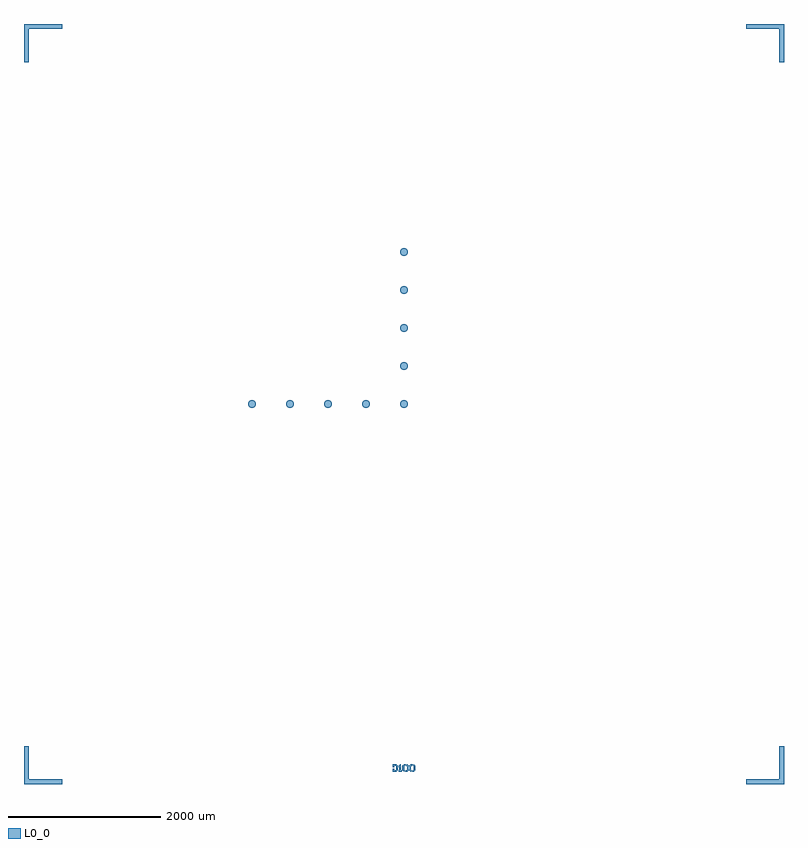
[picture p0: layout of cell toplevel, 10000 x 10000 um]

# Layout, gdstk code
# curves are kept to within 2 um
import gdstk
lib = gdstk.Library(unit=1e-6, precision=1e-09)
def P(c, l, *ps):  # polygons
    for p in ps: c.add(gdstk.Polygon(p, *l))
L0_0 = (0, 0)

circle = lib.new_cell('circle')
P(circle, L0_0, [(50,0),(46.194,19.134),(35.355,35.355),(19.134,46.194),(0,50),(-19.134,46.194),(-35.355,35.355),(-46.194,19.134),(-50,0),(-46.194,-19.134),(-35.355,-35.355),(-19.134,-46.194),(0,-50),(19.134,-46.194),(35.355,-35.355),(46.194,-19.134)])

circle001 = lib.new_cell('circle001')
P(circle001, L0_0, [(-450,0),(-453.806,19.134),(-464.645,35.355),(-480.866,46.194),(-500,50),(-519.134,46.194),(-535.355,35.355),(-546.194,19.134),(-550,0),(-546.194,-19.134),(-535.355,-35.355),(-519.134,-46.194),(-500,-50),(-480.866,-46.194),(-464.645,-35.355),(-453.806,-19.134)])

circle002 = lib.new_cell('circle002')
P(circle002, L0_0, [(-950,0),(-953.806,19.134),(-964.645,35.355),(-980.866,46.194),(-1000,50),(-1019.134,46.194),(-1035.355,35.355),(-1046.194,19.134),(-1050,0),(-1046.194,-19.134),(-1035.355,-35.355),(-1019.134,-46.194),(-1000,-50),(-980.866,-46.194),(-964.645,-35.355),(-953.806,-19.134)])

circle003 = lib.new_cell('circle003')
P(circle003, L0_0, [(-1450,0),(-1453.806,19.134),(-1464.645,35.355),(-1480.866,46.194),(-1500,50),(-1519.134,46.194),(-1535.355,35.355),(-1546.194,19.134),(-1550,0),(-1546.194,-19.134),(-1535.355,-35.355),(-1519.134,-46.194),(-1500,-50),(-1480.866,-46.194),(-1464.645,-35.355),(-1453.806,-19.134)])

circle004 = lib.new_cell('circle004')
P(circle004, L0_0, [(-1950,0),(-1953.806,19.134),(-1964.645,35.355),(-1980.866,46.194),(-2000,50),(-2019.134,46.194),(-2035.355,35.355),(-2046.194,19.134),(-2050,0),(-2046.194,-19.134),(-2035.355,-35.355),(-2019.134,-46.194),(-2000,-50),(-1980.866,-46.194),(-1964.645,-35.355),(-1953.806,-19.134)])

circle005 = lib.new_cell('circle005')
P(circle005, L0_0, [(50,500),(46.194,519.134),(35.355,535.355),(19.134,546.194),(0,550),(-19.134,546.194),(-35.355,535.355),(-46.194,519.134),(-50,500),(-46.194,480.866),(-35.355,464.645),(-19.134,453.806),(0,450),(19.134,453.806),(35.355,464.645),(46.194,480.866)])

circle006 = lib.new_cell('circle006')
P(circle006, L0_0, [(50,1000),(46.194,1019.134),(35.355,1035.355),(19.134,1046.194),(0,1050),(-19.134,1046.194),(-35.355,1035.355),(-46.194,1019.134),(-50,1000),(-46.194,980.866),(-35.355,964.645),(-19.134,953.806),(0,950),(19.134,953.806),(35.355,964.645),(46.194,980.866)])

circle007 = lib.new_cell('circle007')
P(circle007, L0_0, [(50,1500),(46.194,1519.134),(35.355,1535.355),(19.134,1546.194),(0,1550),(-19.134,1546.194),(-35.355,1535.355),(-46.194,1519.134),(-50,1500),(-46.194,1480.866),(-35.355,1464.645),(-19.134,1453.806),(0,1450),(19.134,1453.806),(35.355,1464.645),(46.194,1480.866)])

circle008 = lib.new_cell('circle008')
P(circle008, L0_0, [(50,2000),(46.194,2019.134),(35.355,2035.355),(19.134,2046.194),(0,2050),(-19.134,2046.194),(-35.355,2035.355),(-46.194,2019.134),(-50,2000),(-46.194,1980.866),(-35.355,1964.645),(-19.134,1953.806),(0,1950),(19.134,1953.806),(35.355,1964.645),(46.194,1980.866)])

text = lib.new_cell('text')
P(text, L0_0, [(10,0),(10,40),(30,40),(30,20),(50,20),(60,30),(60,70),(50,80),(30,80),(30,60),(10,60),(10,100),(60,100),(80,80),(80,20),(60,0)],
  [(100,60),(90,60),(90,80),(110,100),(120,100),(120,20),(130,20),(130,0),(90,0),(90,20),(100,20)],
  [(170,80),(160,70),(160,30),(170,20),(165,0),(160,0),(140,20),(140,80),(160,100),(183,100),(178,80),(170,80)],
  [(190,20),(200,30),(200,70),(190,80),(195,100),(200,100),(220,80),(220,20),(200,0),(177,0),(182,20),(190,20)],
  [(260,80),(250,70),(250,30),(260,20),(255,0),(250,0),(230,20),(230,80),(250,100),(273,100),(268,80),(260,80)],
  [(280,20),(290,30),(290,70),(280,80),(285,100),(290,100),(310,80),(310,20),(290,0),(267,0),(272,20),(280,20)])

die = lib.new_cell('die')
P(die, L0_0, [(5000,5000),(5000,4500),(4940,4500),(4940,4940),(4500,4940),(4500,5000)],
  [(-5000,5000),(-5000,4500),(-4940,4500),(-4940,4940),(-4500,4940),(-4500,5000)],
  [(5000,-5000),(5000,-4500),(4940,-4500),(4940,-4940),(4500,-4940),(4500,-5000)],
  [(-5000,-5000),(-5000,-4500),(-4940,-4500),(-4940,-4940),(-4500,-4940),(-4500,-5000)])
die.add(gdstk.Reference(text, (-160,-4840)))

toplevel = lib.new_cell('toplevel')
toplevel.add(gdstk.Reference(circle, (0,0)))
toplevel.add(gdstk.Reference(circle001, (0,0)))
toplevel.add(gdstk.Reference(circle002, (0,0)))
toplevel.add(gdstk.Reference(circle003, (0,0)))
toplevel.add(gdstk.Reference(circle004, (0,0)))
toplevel.add(gdstk.Reference(circle005, (0,0)))
toplevel.add(gdstk.Reference(circle006, (0,0)))
toplevel.add(gdstk.Reference(circle007, (0,0)))
toplevel.add(gdstk.Reference(circle008, (0,0)))
toplevel.add(gdstk.Reference(die, (0,0)))

lib.write_gds('toplevel.gds')
